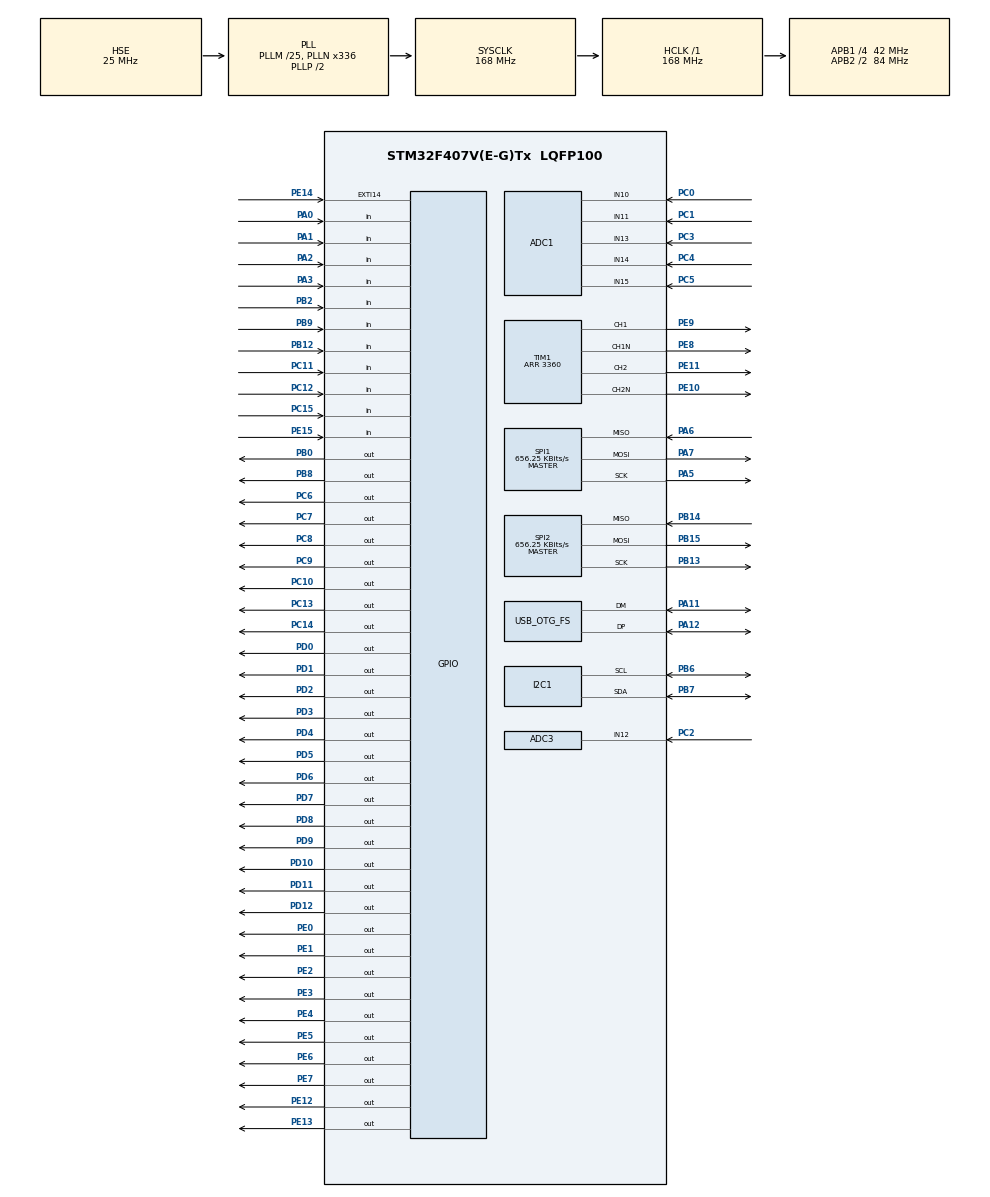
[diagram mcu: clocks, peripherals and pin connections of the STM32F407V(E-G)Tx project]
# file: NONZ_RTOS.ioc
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ADC1.Channel=ADC_CHANNEL_14
ADC1.Channel-2\#ChannelRegularConversion=ADC_CHANNEL_10
ADC1.Channel-3\#ChannelRegularConversion=ADC_CHANNEL_11
ADC1.Channel-4\#ChannelRegularConversion=ADC_CHANNEL_13
ADC1.Channel-5\#ChannelRegularConversion=ADC_CHANNEL_14
ADC1.Channel-6\#ChannelRegularConversion=ADC_CHANNEL_15
ADC1.DMAContinuousRequests=ENABLE
ADC1.EOCSelection=EOC_SEQ_CONV
ADC1.ExternalTrigConv=ADC_EXTERNALTRIGCONV_T2_CC2
ADC1.ExternalTrigConvEdge=ADC_EXTERNALTRIGCONVEDGE_RISING
ADC1.NbrOfConversion=5
ADC1.Rank-3\#ChannelRegularConversion=2
ADC1.Rank-4\#ChannelRegularConversion=3
ADC1.Rank-5\#ChannelRegularConversion=4
ADC1.Rank-6\#ChannelRegularConversion=5
ADC1.SamplingTime-2\#ChannelRegularConversion=ADC_SAMPLETIME_15CYCLES
ADC1.SamplingTime-3\#ChannelRegularConversion=ADC_SAMPLETIME_15CYCLES
ADC1.SamplingTime-4\#ChannelRegularConversion=ADC_SAMPLETIME_15CYCLES
ADC1.SamplingTime-5\#ChannelRegularConversion=ADC_SAMPLETIME_15CYCLES
ADC1.SamplingTime-6\#ChannelRegularConversion=ADC_SAMPLETIME_15CYCLES
ADC1.ScanConvMode=ENABLE
ADC1.master=1
ADC3.Channel-0\#ChannelRegularConversion=ADC_CHANNEL_12
ADC3.DMAContinuousRequests=ENABLE
ADC3.ExternalTrigConvEdge=ADC_EXTERNALTRIGCONVEDGE_RISING
ADC3.Rank-0\#ChannelRegularConversion=1
ADC3.SamplingTime-0\#ChannelRegularConversion=ADC_SAMPLETIME_15CYCLES
Dma.ADC1.7.Channel=DMA_CHANNEL_0
Dma.ADC1.7.Direction=DMA_PERIPH_TO_MEMORY
Dma.ADC1.7.FIFOMode=DMA_FIFOMODE_DISABLE
Dma.ADC1.7.Instance=DMA2_Stream4
Dma.ADC1.7.MemDataAlignment=DMA_MDATAALIGN_HALFWORD
Dma.ADC1.7.MemInc=DMA_MINC_ENABLE
Dma.ADC1.7.Mode=DMA_CIRCULAR
Dma.ADC1.7.PeriphDataAlignment=DMA_PDATAALIGN_HALFWORD
Dma.ADC1.7.PeriphInc=DMA_PINC_DISABLE
Dma.ADC1.7.Priority=DMA_PRIORITY_LOW
Dma.ADC3.6.Channel=DMA_CHANNEL_2
Dma.ADC3.6.Direction=DMA_PERIPH_TO_MEMORY
Dma.ADC3.6.FIFOMode=DMA_FIFOMODE_DISABLE
Dma.ADC3.6.Instance=DMA2_Stream1
Dma.ADC3.6.MemDataAlignment=DMA_MDATAALIGN_HALFWORD
Dma.ADC3.6.MemInc=DMA_MINC_ENABLE
Dma.ADC3.6.Mode=DMA_CIRCULAR
Dma.ADC3.6.PeriphDataAlignment=DMA_PDATAALIGN_HALFWORD
Dma.ADC3.6.PeriphInc=DMA_PINC_DISABLE
Dma.ADC3.6.Priority=DMA_PRIORITY_HIGH
Dma.I2C1_RX.2.Channel=DMA_CHANNEL_1
Dma.I2C1_RX.2.Direction=DMA_PERIPH_TO_MEMORY
Dma.I2C1_RX.2.FIFOMode=DMA_FIFOMODE_DISABLE
Dma.I2C1_RX.2.Instance=DMA1_Stream0
Dma.I2C1_RX.2.MemDataAlignment=DMA_MDATAALIGN_BYTE
Dma.I2C1_RX.2.MemInc=DMA_MINC_ENABLE
Dma.I2C1_RX.2.Mode=DMA_NORMAL
Dma.I2C1_RX.2.PeriphDataAlignment=DMA_PDATAALIGN_BYTE
Dma.I2C1_RX.2.PeriphInc=DMA_PINC_DISABLE
Dma.I2C1_RX.2.Priority=DMA_PRIORITY_LOW
Dma.I2C1_TX.3.Channel=DMA_CHANNEL_1
Dma.I2C1_TX.3.Direction=DMA_MEMORY_TO_PERIPH
Dma.I2C1_TX.3.FIFOMode=DMA_FIFOMODE_DISABLE
Dma.I2C1_TX.3.Instance=DMA1_Stream6
Dma.I2C1_TX.3.MemDataAlignment=DMA_MDATAALIGN_BYTE
Dma.I2C1_TX.3.MemInc=DMA_MINC_ENABLE
Dma.I2C1_TX.3.Mode=DMA_NORMAL
Dma.I2C1_TX.3.PeriphDataAlignment=DMA_PDATAALIGN_BYTE
Dma.I2C1_TX.3.PeriphInc=DMA_PINC_DISABLE
Dma.I2C1_TX.3.Priority=DMA_PRIORITY_LOW
Dma.Request0=SPI2_RX
Dma.Request1=SPI2_TX
Dma.Request2=I2C1_RX
Dma.Request3=I2C1_TX
Dma.Request4=SPI1_TX
Dma.Request5=SPI1_RX
Dma.Request6=ADC3
Dma.Request7=ADC1
Dma.SPI1_RX.5.Channel=DMA_CHANNEL_3
Dma.SPI1_RX.5.Direction=DMA_PERIPH_TO_MEMORY
Dma.SPI1_RX.5.FIFOMode=DMA_FIFOMODE_DISABLE
Dma.SPI1_RX.5.Instance=DMA2_Stream0
Dma.SPI1_RX.5.MemDataAlignment=DMA_MDATAALIGN_BYTE
Dma.SPI1_RX.5.MemInc=DMA_MINC_ENABLE
Dma.SPI1_RX.5.Mode=DMA_NORMAL
Dma.SPI1_RX.5.PeriphDataAlignment=DMA_PDATAALIGN_BYTE
Dma.SPI1_RX.5.PeriphInc=DMA_PINC_DISABLE
Dma.SPI1_RX.5.Priority=DMA_PRIORITY_LOW
Dma.SPI1_TX.4.Channel=DMA_CHANNEL_3
Dma.SPI1_TX.4.Direction=DMA_MEMORY_TO_PERIPH
Dma.SPI1_TX.4.FIFOMode=DMA_FIFOMODE_DISABLE
Dma.SPI1_TX.4.Instance=DMA2_Stream3
Dma.SPI1_TX.4.MemDataAlignment=DMA_MDATAALIGN_BYTE
Dma.SPI1_TX.4.MemInc=DMA_MINC_ENABLE
Dma.SPI1_TX.4.Mode=DMA_NORMAL
Dma.SPI1_TX.4.PeriphDataAlignment=DMA_PDATAALIGN_BYTE
Dma.SPI1_TX.4.PeriphInc=DMA_PINC_DISABLE
Dma.SPI1_TX.4.Priority=DMA_PRIORITY_LOW
Dma.SPI2_RX.0.Channel=DMA_CHANNEL_0
Dma.SPI2_RX.0.Direction=DMA_PERIPH_TO_MEMORY
Dma.SPI2_RX.0.FIFOMode=DMA_FIFOMODE_DISABLE
Dma.SPI2_RX.0.Instance=DMA1_Stream3
Dma.SPI2_RX.0.MemDataAlignment=DMA_MDATAALIGN_BYTE
Dma.SPI2_RX.0.MemInc=DMA_MINC_ENABLE
Dma.SPI2_RX.0.Mode=DMA_NORMAL
Dma.SPI2_RX.0.PeriphDataAlignment=DMA_PDATAALIGN_BYTE
Dma.SPI2_RX.0.PeriphInc=DMA_PINC_DISABLE
Dma.SPI2_RX.0.Priority=DMA_PRIORITY_LOW
Dma.SPI2_TX.1.Channel=DMA_CHANNEL_0
Dma.SPI2_TX.1.Direction=DMA_MEMORY_TO_PERIPH
Dma.SPI2_TX.1.FIFOMode=DMA_FIFOMODE_DISABLE
Dma.SPI2_TX.1.Instance=DMA1_Stream4
Dma.SPI2_TX.1.MemDataAlignment=DMA_MDATAALIGN_BYTE
Dma.SPI2_TX.1.MemInc=DMA_MINC_ENABLE
Dma.SPI2_TX.1.Mode=DMA_NORMAL
Dma.SPI2_TX.1.PeriphDataAlignment=DMA_PDATAALIGN_BYTE
Dma.SPI2_TX.1.PeriphInc=DMA_PINC_DISABLE
Dma.SPI2_TX.1.Priority=DMA_PRIORITY_LOW
FREERTOS.BinarySemaphores01=myBinarySem01;myBinarySem02
FREERTOS.CountingSemaphores01=myCountingSem01,2;myCountingSem02,2
FREERTOS.INCLUDE_eTaskGetState=1
FREERTOS.INCLUDE_pcTaskGetTaskName=1
FREERTOS.INCLUDE_uxTaskGetStackHighWaterMark=1
FREERTOS.INCLUDE_vTaskDelayUntil=1
FREERTOS.INCLUDE_xTaskGetCurrentTaskHandle=1
FREERTOS.Mutexes01=Mutex01;Mutex02
FREERTOS.Queues01=myQueue01,16,uint16_t,NULL;myQueue02,16,uint16_t,NULL
FREERTOS.Tasks01=Task1,0,128,StartDefaultTask1;Task_2,-2,128,StartTask_2;Task03,-2,128,StartTask03
FREERTOS.Timers01=myTimer01,Timer1Callback01,osTimerPeriodic;myTimer02,Timer2Callback02,osTimerPeriodic;myOnceTimer03,OnceCallback03,osTimerOnce
FREERTOS.configCHECK_FOR_STACK_OVERFLOW=0
FREERTOS.configGENERATE_RUN_TIME_STATS=0
FREERTOS.configTICK_RATE_HZ=1000
FREERTOS.configUSE_APPLICATION_TASK_TAG=1
FREERTOS.configUSE_TIMERS=1
Mcu.Family=STM32F4
Mcu.Name=STM32F407V(E-G)Tx
Mcu.Package=LQFP100
NVIC.DMA1_Stream0_IRQn=true\:5\:0\:false
NVIC.DMA1_Stream3_IRQn=true\:5\:0\:false
NVIC.DMA1_Stream4_IRQn=true\:5\:0\:false
NVIC.DMA1_Stream6_IRQn=true\:5\:0\:false
NVIC.DMA2_Stream0_IRQn=true\:5\:0\:false
NVIC.DMA2_Stream1_IRQn=true\:5\:0\:false
NVIC.DMA2_Stream3_IRQn=true\:5\:0\:false
NVIC.DMA2_Stream4_IRQn=true\:5\:0\:false
NVIC.OTG_FS_IRQn=true\:5\:0\:false
NVIC.PriorityGroup=NVIC_PRIORITYGROUP_4
NVIC.SPI1_IRQn=true\:5\:0\:false
NVIC.SPI2_IRQn=true\:5\:0\:false
PA0-WKUP.Signal=GPIO_Input
PA1.Signal=GPIO_Input
PA11.Mode=Device_Only
PA11.Signal=USB_OTG_FS_DM
PA12.Mode=Device_Only
PA12.Signal=USB_OTG_FS_DP
PA13.Mode=JTAG(5-pin)
PA13.Signal=SYS_JTMS-SWDIO
PA14.Mode=JTAG(5-pin)
PA14.Signal=SYS_JTCK-SWCLK
PA15.Mode=JTAG(5-pin)
PA15.Signal=SYS_JTDI
PA2.Signal=GPIO_Input
PA3.Signal=GPIO_Input
PA5.Mode=Full_Duplex_Master
PA5.Signal=SPI1_SCK
PA6.Mode=Full_Duplex_Master
PA6.Signal=SPI1_MISO
PA7.Mode=Full_Duplex_Master
PA7.Signal=SPI1_MOSI
PB0.Signal=GPIO_Output
PB12.Signal=GPIO_Input
PB13.Mode=Full_Duplex_Master
PB13.Signal=SPI2_SCK
PB14.Mode=Full_Duplex_Master
PB14.Signal=SPI2_MISO
PB15.Mode=Full_Duplex_Master
PB15.Signal=SPI2_MOSI
PB2.Signal=GPIO_Input
PB3.Mode=JTAG(5-pin)
PB3.Signal=SYS_JTDO-SWO
PB4.Mode=JTAG(5-pin)
PB4.Signal=SYS_JTRST
PB6.Mode=I2C
PB6.Signal=I2C1_SCL
PB7.Mode=I2C
PB7.Signal=I2C1_SDA
PB8.Signal=GPIO_Output
PB9.Signal=GPIO_Input
PC0.Signal=ADCx_IN10
PC1.Signal=ADCx_IN11
PC10.Signal=GPIO_Output
PC11.Signal=GPIO_Input
PC12.Signal=GPIO_Input
PC13-ANTI_TAMP.Signal=GPIO_Output
PC14-OSC32_IN.Signal=GPIO_Output
PC15-OSC32_OUT.Signal=GPIO_Input
PC2.Signal=ADCx_IN12
PC3.Signal=ADCx_IN13
PC4.Signal=ADCx_IN14
PC5.Signal=ADCx_IN15
PC6.Signal=GPIO_Output
PC7.Signal=GPIO_Output
PC8.Signal=GPIO_Output
PC9.Signal=GPIO_Output
PD0.Signal=GPIO_Output
PD1.Signal=GPIO_Output
PD10.Signal=GPIO_Output
PD11.Signal=GPIO_Output
PD12.Signal=GPIO_Output
PD2.Signal=GPIO_Output
PD3.Signal=GPIO_Output
PD4.Signal=GPIO_Output
PD5.Signal=GPIO_Output
PD6.Signal=GPIO_Output
PD7.Signal=GPIO_Output
PD8.Signal=GPIO_Output
PD9.Signal=GPIO_Output
PE0.Signal=GPIO_Output
PE1.Signal=GPIO_Output
PE10.Mode=PWM Generation2 CH2 CH2N
PE10.Signal=TIM1_CH2N
PE11.Signal=S_TIM1_CH2
PE12.Signal=GPIO_Output
PE13.Signal=GPIO_Output
PE14.Signal=GPXTI14
PE15.Signal=GPIO_Input
PE2.Signal=GPIO_Output
PE3.Signal=GPIO_Output
PE4.Signal=GPIO_Output
PE5.Signal=GPIO_Output
PE6.Signal=GPIO_Output
PE7.Signal=GPIO_Output
PE8.Mode=PWM Generation1 CH1 CH1N
PE8.Signal=TIM1_CH1N
PE9.Signal=S_TIM1_CH1
PH0-OSC_IN.Mode=HSE-External-Oscillator
PH0-OSC_IN.Signal=RCC_OSC_IN
PH1-OSC_OUT.Mode=HSE-External-Oscillator
PH1-OSC_OUT.Signal=RCC_OSC_OUT
ProjectManager.TargetToolchain=MDK-ARM V5
RCC.48MHZClocksFreq_Value=48000000
RCC.AHBFreq_Value=168000000
RCC.APB1CLKDivider=RCC_HCLK_DIV4
RCC.APB1Freq_Value=42000000
RCC.APB1TimFreq_Value=84000000
RCC.APB2CLKDivider=RCC_HCLK_DIV2
RCC.APB2Freq_Value=84000000
RCC.APB2TimFreq_Value=168000000
RCC.CortexFreq_Value=21000000
RCC.HCLKFreq_Value=168000000
RCC.HSE_VALUE=25000000
RCC.HSI_VALUE=16000000
RCC.LSE_VALUE=32768
RCC.PLLM=25
RCC.PLLN=336
RCC.PLLQ=7
RCC.PLLSource=RCC_PLLSOURCE_HSE
RCC.PLLSourceVirtualString=RCC_PLLSOURCE_HSE
RCC.SYSCLKFreq_VALUE=168000000
RCC.SYSCLKSource=RCC_SYSCLKSOURCE_PLLCLK
RCC.VCOOutputFreq_Value=336000000
SH.ADCx_IN10.0=ADC1_IN10,IN10
SH.ADCx_IN11.0=ADC1_IN11,IN11
SH.ADCx_IN12.0=ADC3_IN12,IN12
SH.ADCx_IN13.0=ADC1_IN13,IN13
SH.ADCx_IN14.0=ADC1_IN14,IN14
SH.ADCx_IN15.0=ADC1_IN15,IN15
SH.S_TIM1_CH1.0=TIM1_CH1,PWM Generation1 CH1 CH1N
SH.S_TIM1_CH2.0=TIM1_CH2,PWM Generation2 CH2 CH2N
SPI1.BaudRatePrescaler=SPI_BAUDRATEPRESCALER_128
SPI1.CalculateBaudRate=656.25 KBits/s
SPI1.Mode=SPI_MODE_MASTER
SPI2.BaudRatePrescaler=SPI_BAUDRATEPRESCALER_64
SPI2.CalculateBaudRate=656.25 KBits/s
SPI2.Mode=SPI_MODE_MASTER
TIM1.Channel-PWM\ Generation2\ CH2\ CH2N=TIM_CHANNEL_2
TIM1.DeadTime=11
TIM1.Period=3360
TIM1.TIM_MasterOutputTrigger=TIM_TRGO_OC1REF
TIM2.Channel-Output\ Compare2\ No\ Output=TIM_CHANNEL_2
TIM2.Period=5040
TIM2.TIM_MasterOutputTrigger=TIM_TRGO_OC2REF
TIM2.TIM_MasterSlaveMode=TIM_MASTERSLAVEMODE_DISABLE
USB_OTG_FS.VirtualMode=Device_Only
VP_FREERTOS_VS_ENABLE.Mode=Enabled
VP_TIM1_VS_ClockSourceINT.Mode=Internal
VP_TIM2_VS_ClockSourceINT.Mode=Internal
VP_TIM2_VS_no_output2.Mode=Output Compare2 No Output

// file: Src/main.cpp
/**
  ******************************************************************************
  * File Name          : main.c
  * Date               : 26/06/2015 16:45:03
  * Description        : Main program body
  ******************************************************************************
  *
  * COPYRIGHT(c) 2015 STMicroelectronics
  *
  * Redistribution and use in source and binary forms, with or without modification,
  * are permitted provided that the following conditions are met:
  *   1. Redistributions of source code must retain the above copyright notice,
  *      this list of conditions and the following disclaimer.
  *   2. Redistributions in binary form must reproduce the above copyright notice,
  *      this list of conditions and the following disclaimer in the documentation
  *      and/or other materials provided with the distribution.
  *   3. Neither the name of STMicroelectronics nor the names of its contributors
  *      may be used to endorse or promote products derived from this software
  *      without specific prior written permission.
  *
  * THIS SOFTWARE IS PROVIDED BY THE COPYRIGHT HOLDERS AND CONTRIBUTORS "AS IS"
  * AND ANY EXPRESS OR IMPLIED WARRANTIES, INCLUDING, BUT NOT LIMITED TO, THE
  * IMPLIED WARRANTIES OF MERCHANTABILITY AND FITNESS FOR A PARTICULAR PURPOSE ARE
  * DISCLAIMED. IN NO EVENT SHALL THE COPYRIGHT HOLDER OR CONTRIBUTORS BE LIABLE
  * FOR ANY DIRECT, INDIRECT, INCIDENTAL, SPECIAL, EXEMPLARY, OR CONSEQUENTIAL
  * DAMAGES (INCLUDING, BUT NOT LIMITED TO, PROCUREMENT OF SUBSTITUTE GOODS OR
  * SERVICES; LOSS OF USE, DATA, OR PROFITS; OR BUSINESS INTERRUPTION) HOWEVER
  * CAUSED AND ON ANY THEORY OF LIABILITY, WHETHER IN CONTRACT, STRICT LIABILITY,
  * OR TORT (INCLUDING NEGLIGENCE OR OTHERWISE) ARISING IN ANY WAY OUT OF THE USE
  * OF THIS SOFTWARE, EVEN IF ADVISED OF THE POSSIBILITY OF SUCH DAMAGE.
  *
  ******************************************************************************
  */

#include "stm32f4xx_hal.h"
#include "cmsis_os.h"
#include "adc.h"
#include "dma.h"
#include "i2c.h"
#include "spi.h"
#include "tim.h"
#include "usb_otg.h"
#include "gpio.h"

/* USER CODE BEGIN Includes */
#include "_Objects_Definitions\__ObjectsDefinitions.hpp"
#include "_Objects_Definitions\__ConstantsDefinitions.hpp"
#include "main.hpp"
/* USER CODE END Includes */

void SystemClock_Config(void);
void MX_FREERTOS_Init(void);

int main(void)

{

  /* MCU Configuration----------------------------------------------------------*/

  /* Reset of all peripherals, Initializes the Flash interface and the Systick. */
  HAL_Init();

  /* Configure the system clock */
  SystemClock_Config();

  /* Initialize all configured peripherals */
  MX_GPIO_Init();
  MX_DMA_Init();
  MX_ADC1_Init();
  MX_ADC3_Init();
  MX_I2C1_Init();
  MX_SPI1_Init();
  MX_SPI2_Init();
  MX_TIM1_Init();
  MX_TIM2_Init();
  MX_USB_OTG_FS_PCD_Init();

  /* USER CODE BEGIN 2 */
  TIM1->CCR1 = 0x300;
  TIM1->CCR2 = 0x300;
  TIM2->CCR2 = 0x60;

  // Настройка deathTime
  pwm.init();
/* bugfix */   pwmDeathTime.setValue(10);
  htim1.Instance->BDTR &= ~TIM_BDTR_DTG;
  htim1.Instance->BDTR |= pwm.computeDeathTime(pwmDeathTime.getValueFlt());

  HAL_TIM_Base_Start(&htim1);
  // Выходной сигнал для ацп
  HAL_TIM_OC_Start(&htim2, TIM_CHANNEL_2);
  // Выходной сигнал для ацп
  HAL_TIM_OC_Start(&htim1, TIM_CHANNEL_3);

//  HAL_TIM_PWM_Start(&htim1,TIM_CHANNEL_1);
//  HAL_TIM_PWM_Start(&htim1,TIM_CHANNEL_2);
//  pwm.start();

//  HAL_TIMEx_PWMN_Start(&htim1,TIM_CHANNEL_1);
//  HAL_TIMEx_PWMN_Start(&htim1,TIM_CHANNEL_2);

  __HAL_RCC_DMA2_CLK_ENABLE();
  HAL_ADC_Start_DMA(&hadc1, (uint32_t*)adc1.getBufer(), adc1.getBuferSize());
  HAL_ADC_Start_DMA(&hadc3, (uint32_t*)adc3.getBufer(), adc3.getBuferSize());

//------------------------------------------------------------------------------
  //  Низкоуровневая инициализация
//------------------------------------------------------------------------------
  //  Разрешение выходов буферов
  GPIOC->BSRR = BIT_14;

  //  Инициализация SPI портов

//------------------------------------------------------------------------------
//  Агрегация объектов
//  Определяется только при инициализации программы
//------------------------------------------------------------------------------

  mainMenu.addObserver( &menuEngine );  //  Объект menuEngine подписался на рассылку событий, объявленных в IControlCommands

//------------------------------------------------------------------------------
//  Начальные условия
//------------------------------------------------------------------------------
  menuEngine.setMenuValue("");

// Затычка на время отсутствия FRAM. Инициализация float данных

  vICalibrating.setValue(vICalibrating.getValue());
  vUDcBusCodeUCal.setValue(vUDcBusCodeUCal.getValue());
  vUDcBusCodeZero.setValue(vUDcBusCodeZero.getValue());
  vIChargeCodeICal.setValue(vIChargeCodeICal.getValue());
  vUChargeCodeUCal.setValue(vUChargeCodeUCal.getValue());
  vIChargeCodeZero.setValue(vIChargeCodeZero.getValue());
  vUChargeCodeZero.setValue(vUChargeCodeZero.getValue());
  vDcBusLoadVoltageDifferent.setValue(vDcBusLoadVoltageDifferent.getValue());

  /* USER CODE END 2 */

  /* Call init function for freertos objects (in freertos.c) */
  MX_FREERTOS_Init();

  /* Start scheduler */
  osKernelStart();

  /* We should never get here as control is now taken by the scheduler */

  /* Infinite loop */
  while (1)
  {

  }

}

/** System Clock Configuration
*/
void SystemClock_Config(void)
{

  RCC_OscInitTypeDef RCC_OscInitStruct;
  RCC_ClkInitTypeDef RCC_ClkInitStruct;

  __PWR_CLK_ENABLE();

  __HAL_PWR_VOLTAGESCALING_CONFIG(PWR_REGULATOR_VOLTAGE_SCALE1);

  RCC_OscInitStruct.OscillatorType = RCC_OSCILLATORTYPE_HSE;
  RCC_OscInitStruct.HSEState = RCC_HSE_ON;
  RCC_OscInitStruct.PLL.PLLState = RCC_PLL_ON;
  RCC_OscInitStruct.PLL.PLLSource = RCC_PLLSOURCE_HSE;
  RCC_OscInitStruct.PLL.PLLM = 25;
  RCC_OscInitStruct.PLL.PLLN = 336;
  RCC_OscInitStruct.PLL.PLLP = RCC_PLLP_DIV2;
  RCC_OscInitStruct.PLL.PLLQ = 7;
  HAL_RCC_OscConfig(&RCC_OscInitStruct);

  RCC_ClkInitStruct.ClockType = RCC_CLOCKTYPE_SYSCLK|RCC_CLOCKTYPE_PCLK1
                              |RCC_CLOCKTYPE_PCLK2;
  RCC_ClkInitStruct.SYSCLKSource = RCC_SYSCLKSOURCE_PLLCLK;
  RCC_ClkInitStruct.AHBCLKDivider = RCC_SYSCLK_DIV1;
  RCC_ClkInitStruct.APB1CLKDivider = RCC_HCLK_DIV4;
  RCC_ClkInitStruct.APB2CLKDivider = RCC_HCLK_DIV2;
  HAL_RCC_ClockConfig(&RCC_ClkInitStruct, FLASH_LATENCY_5);

}

/************************ (C) COPYRIGHT STMicroelectronics *****END OF FILE****/
